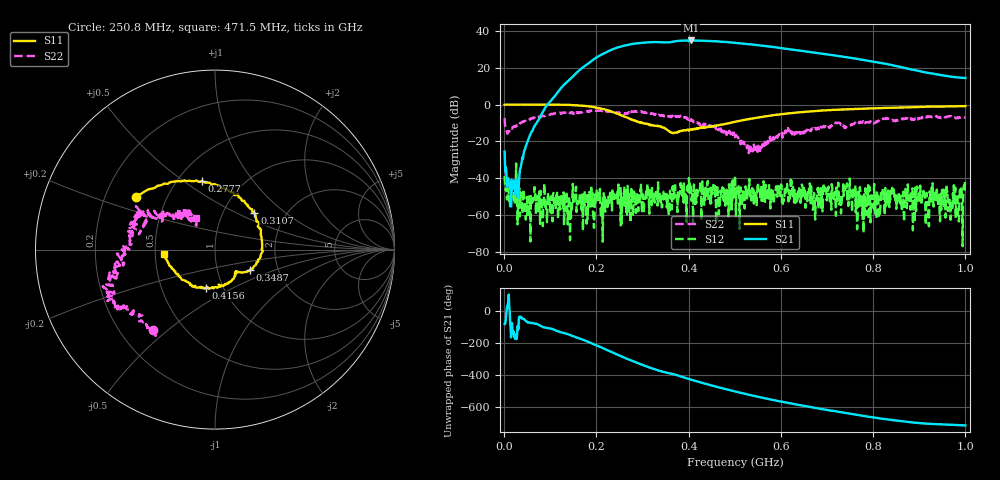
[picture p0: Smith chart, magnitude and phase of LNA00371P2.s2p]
! Created with skrf 1.9.0 (http://scikit-rf.org).
# Hz S RI R 50.0
!freq ReS11 ImS11 ReS21 ImS21 ReS12 ImS12 ReS22 ImS22
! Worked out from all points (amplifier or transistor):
!   1001 points, 1 MHz to 1 GHz, reference 50 ohm
!   highest |S21| = 34.7 dB at 404.6 MHz (marker M1)
!   |S21| within 3 dB of that: 257.3 MHz to 565.4 MHz (308 MHz wide, 74.9 % of centre)
!   unconditionally stable (mu >= 1): start of sweep to 78.46 MHz; 156.4 MHz to 169.6 MHz; 208.1 MHz to end of sweep (the widest 3 of 28)
!   at 166.8 MHz: K = 3.46, MAG = 29.6 dB, |S12| = -56.5 dB
!   at 500.5 MHz: K = 1.05, MAG = 34.5 dB, |S12| = -38.4 dB
!   at 1 GHz: K = 2.54, MAG = 22.2 dB, |S12| = -43.7 dB
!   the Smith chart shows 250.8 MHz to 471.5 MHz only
!   S11 on the Smith chart (normalised r, x): 250.8 MHz: 0.33, +0.27; 277.7 MHz: 0.65, +0.59; 310.7 MHz: 1.40, +0.63; 348.7 MHz: 1.44, -0.34; 415.6 MHz: 0.83, -0.37; 471.5 MHz: 0.56, -0.03
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1000000  0.9859 0.000746  0.00866 -0.0519  -0.000601 -0.0116  0.3167 0.2914
1.08892e8  0.5038 -0.8573  -0.7838 -1.451  0.00212 0.000908  0.4185 -0.374
1.67833e8  -0.2682 -0.891  -9.539 -0.5621  -0.00221 -0.000437  0.0283 -0.6176
2.12788e8  -0.7079 -0.2838  -14.64 17.98  0.000984 -0.00236  -0.2197 -0.6248
2.31769e8  -0.6484 0.0407  -7.513 29.16  -0.000684 -0.00277  -0.2993 -0.5764
2.5075e8  -0.4399 0.2955  6.186 36.08  -0.000775 0.00187  -0.347 -0.447
2.77723e8  -0.0749 0.381  29.54 32.46  0.00174 0.00233  -0.5704 -0.3099
3.1069e8  0.2195 0.2059  47.26 9.643  -0.00544 0.00457  -0.5869 -0.1277
3.34666e8  0.2566 -0.0245  48.06 -10.28  0.00205 0.00245  -0.523 -0.059
3.48652e8  0.1955 -0.113  44.34 -19.33  -0.00169 0.00219  -0.4723 0.0313
3.75625e8  0.1119 -0.1339  38.89 -35.74  -0.00106 -0.000597  -0.4213 0.1819
4.04596e8  0.0118 -0.2121  19.79 -50.91  0.000189 0.00596  -0.3222 0.1915
4.15585e8  -0.0503 -0.214  11.62 -53.07  0.0024 0.00258  -0.2732 0.1987
4.41559e8  -0.1888 -0.161  -8.331 -52.67  0.00468 0.00704  -0.2084 0.1776
4.71529e8  -0.2849 -0.0237  -26.43 -42.93  0.00319 0.000507  -0.1046 0.1743
5.005e8  -0.3038 0.1571  -37.79 -28.61  0.0107 -0.00553  -0.094 0.0898
5.39461e8  -0.2159 0.3597  -41.23 -8.042  0.00197 -0.00176  -0.0616 0.0124
5.86414e8  0.00349 0.5189  -34.12 11.14  0.00309 -0.00191  -0.0993 -0.0614
6.67333e8  0.4124 0.5078  -12.14 22.88  -0.00263 -0.00312  -0.2116 -0.0362
7.53247e8  0.6932 0.286  4.171 17.74  -0.00342 0.000323  -0.295 0.0158
8.34166e8  0.8126 0.0134  9.106 8.098  -0.00359 0.000944  -0.402 0.0498
1e9  0.7277 -0.5381  5.222 0.4649  -0.0021 -0.00619  -0.2268 0.382
